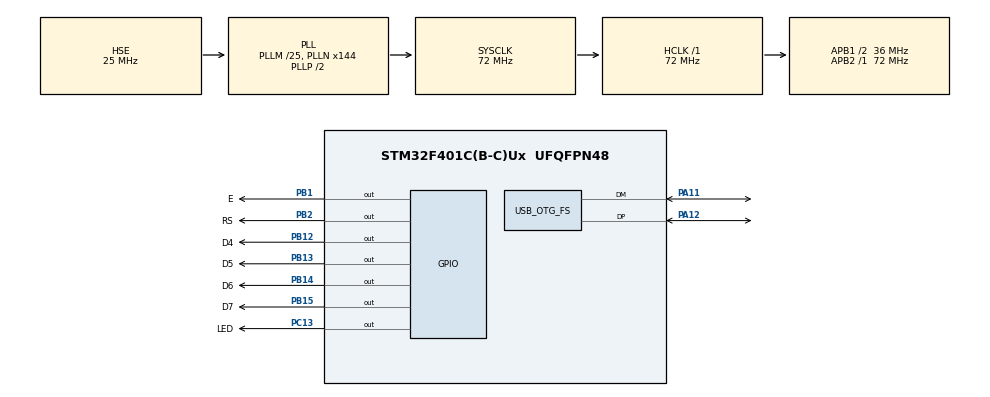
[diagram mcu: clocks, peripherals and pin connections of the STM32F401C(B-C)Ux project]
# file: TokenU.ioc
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Mcu.Family=STM32F4
Mcu.Name=STM32F401C(B-C)Ux
Mcu.Package=UFQFPN48
NVIC.OTG_FS_IRQn=true\:0\:0\:false\:false\:true\:true\:true\:true
NVIC.PriorityGroup=NVIC_PRIORITYGROUP_4
NVIC.TIM2_IRQn=true\:0\:0\:false\:false\:true\:true\:true\:true
PA11.Mode=Device_Only
PA11.Signal=USB_OTG_FS_DM
PA12.Mode=Device_Only
PA12.Signal=USB_OTG_FS_DP
PA13.Mode=Serial_Wire
PA13.Signal=SYS_JTMS-SWDIO
PA14.Mode=Serial_Wire
PA14.Signal=SYS_JTCK-SWCLK
PB1.GPIO_Label=E
PB1.Signal=GPIO_Output
PB12.GPIO_Label=D4
PB12.Signal=GPIO_Output
PB13.GPIO_Label=D5
PB13.Signal=GPIO_Output
PB14.GPIO_Label=D6
PB14.Signal=GPIO_Output
PB15.GPIO_Label=D7
PB15.Signal=GPIO_Output
PB2.GPIO_Label=RS
PB2.Signal=GPIO_Output
PC13-ANTI_TAMP.GPIO_Label=LED
PC13-ANTI_TAMP.Signal=GPIO_Output
PH0\ -\ OSC_IN.Mode=HSE-External-Oscillator
PH0\ -\ OSC_IN.Signal=RCC_OSC_IN
PH1\ -\ OSC_OUT.Mode=HSE-External-Oscillator
PH1\ -\ OSC_OUT.Signal=RCC_OSC_OUT
ProjectManager.HeapSize=0x200
ProjectManager.StackSize=0x400
ProjectManager.TargetToolchain=STM32CubeIDE
RCC.48MHZClocksFreq_Value=48000000
RCC.AHBFreq_Value=72000000
RCC.APB1CLKDivider=RCC_HCLK_DIV2
RCC.APB1Freq_Value=36000000
RCC.APB1TimFreq_Value=72000000
RCC.APB2Freq_Value=72000000
RCC.APB2TimFreq_Value=72000000
RCC.CortexFreq_Value=72000000
RCC.HCLKFreq_Value=72000000
RCC.HSE_VALUE=25000000
RCC.HSI_VALUE=16000000
RCC.LSE_VALUE=32768
RCC.PLLM=25
RCC.PLLN=144
RCC.PLLQ=3
RCC.SYSCLKFreq_VALUE=72000000
RCC.SYSCLKSource=RCC_SYSCLKSOURCE_PLLCLK
RCC.VCOOutputFreq_Value=144000000
TIM2.Period=60000-1
TIM2.Prescaler=36000
USB_DEVICE.CLASS_NAME_FS=CDC
USB_DEVICE.VirtualMode=Cdc
USB_DEVICE.VirtualModeFS=Cdc_FS
USB_OTG_FS.VirtualMode=Device_Only
VP_TIM2_VS_ClockSourceINT.Mode=Internal
VP_USB_DEVICE_VS_USB_DEVICE_CDC_FS.Mode=CDC_FS
board=custom

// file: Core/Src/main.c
/* USER CODE BEGIN Header */
/**
  **************************
  * @file           : main.c
  * @brief          : Main program body
  **************************
  * @attention
  *
  * Copyright (c) 2022 STMicroelectronics.
  * All rights reserved.
  *
  * This software is licensed under terms that can be found in the LICENSE file
  * in the root directory of this software component.
  * If no LICENSE file comes with this software, it is provided AS-IS.
  *
  **************************
  */
/* USER CODE END Header */
#include "main.h"
#include "usb_device.h"

/* USER CODE BEGIN Includes */
#include <stdlib.h>
#include <stdio.h>
//==Comandos LCD==//
#define linea1 0x80
#define linea2 0xC0
#define clear  0x01
/* USER CODE END Includes */

TIM_HandleTypeDef htim2;

/* USER CODE BEGIN PV */
unsigned long token =0;
unsigned long token2=0;
unsigned long token3=0;
char tex[8];
static char clave[8];
static char Hora[8];
static char OK[2]="OK";
static int temp=0, activar=0, activar2=0;
int i=0;
/*uint8_t contador=0;
uint8_t texto[32];
uint8_t ap[10]={0,1,2,3,4,5,6,7,8,9};*/
/* USER CODE END PV */

void SystemClock_Config(void);
static void MX_GPIO_Init(void);
static void MX_TIM2_Init(void);
/* USER CODE BEGIN PFP */
void initLCD();
void comando(unsigned char cmd, unsigned char rs);
void E_cadena(unsigned char *pal);
/* USER CODE END PFP */

int main(void)
{

  /* MCU Configuration--------------------------------------------------------*/

  /* Reset of all peripherals, Initializes the Flash interface and the Systick. */
  HAL_Init();

  /* Configure the system clock */
  SystemClock_Config();

  /* Initialize all configured peripherals */
  MX_GPIO_Init();
  MX_TIM2_Init();
  MX_USB_DEVICE_Init();
  /* USER CODE BEGIN 2 */
  //HAL_GPIO_WritePin(LED_GPIO_Port, LED_Pin, GPIO_PIN_SET);
  initLCD();

  E_cadena("Esperando  clave");
  comando(linea2, 0);
  E_cadena("Sin  sincronizar");
  while(activar == 0){
    }
  HAL_TIM_Base_Start_IT(&htim2);
  comando(clear,0);
  /* USER CODE END 2 */

  /* Infinite loop */
  /* USER CODE BEGIN WHILE */
  while (1){
	  /*if(temp==0){
		  E_cadena("Su token es: ");
		  comando(linea2,0);
		  E_cadena(utoa(token3, tex, 16));
		  temp=2;
	  }else if (temp==1){
		  token2=token2+30;
		  token3=token2^token;
		  //E_cadena(utoa(token, tex, 16));
		  temp=0;
		  comando(clear,0);
	  }*/
	  HAL_Delay(2000);
	  CDC_Transmit_FS(OK, strlen(OK));
    /* USER CODE END WHILE */

  }
}

void SystemClock_Config(void)
{
  RCC_OscInitTypeDef RCC_OscInitStruct = {0};
  RCC_ClkInitTypeDef RCC_ClkInitStruct = {0};

  /** Configure the main internal regulator output voltage
  */
  __HAL_RCC_PWR_CLK_ENABLE();
  __HAL_PWR_VOLTAGESCALING_CONFIG(PWR_REGULATOR_VOLTAGE_SCALE2);

  /** Initializes the RCC Oscillators according to the specified parameters
  * in the RCC_OscInitTypeDef structure.
  */
  RCC_OscInitStruct.OscillatorType = RCC_OSCILLATORTYPE_HSE;
  RCC_OscInitStruct.HSEState = RCC_HSE_ON;
  RCC_OscInitStruct.PLL.PLLState = RCC_PLL_ON;
  RCC_OscInitStruct.PLL.PLLSource = RCC_PLLSOURCE_HSE;
  RCC_OscInitStruct.PLL.PLLM = 25;
  RCC_OscInitStruct.PLL.PLLN = 144;
  RCC_OscInitStruct.PLL.PLLP = RCC_PLLP_DIV2;
  RCC_OscInitStruct.PLL.PLLQ = 3;
  if (HAL_RCC_OscConfig(&RCC_OscInitStruct) != HAL_OK)
  {
    Error_Handler();
  }

  /** Initializes the CPU, AHB and APB buses clocks
  */
  RCC_ClkInitStruct.ClockType = RCC_CLOCKTYPE_HCLK|RCC_CLOCKTYPE_SYSCLK
                              |RCC_CLOCKTYPE_PCLK1|RCC_CLOCKTYPE_PCLK2;
  RCC_ClkInitStruct.SYSCLKSource = RCC_SYSCLKSOURCE_PLLCLK;
  RCC_ClkInitStruct.AHBCLKDivider = RCC_SYSCLK_DIV1;
  RCC_ClkInitStruct.APB1CLKDivider = RCC_HCLK_DIV2;
  RCC_ClkInitStruct.APB2CLKDivider = RCC_HCLK_DIV1;

  if (HAL_RCC_ClockConfig(&RCC_ClkInitStruct, FLASH_LATENCY_2) != HAL_OK)
  {
    Error_Handler();
  }
}

static void MX_TIM2_Init(void)
{

  TIM_ClockConfigTypeDef sClockSourceConfig = {0};
  TIM_MasterConfigTypeDef sMasterConfig = {0};

  htim2.Instance = TIM2;
  htim2.Init.Prescaler = 36000;
  htim2.Init.CounterMode = TIM_COUNTERMODE_UP;
  htim2.Init.Period = 60000-1;
  htim2.Init.ClockDivision = TIM_CLOCKDIVISION_DIV1;
  htim2.Init.AutoReloadPreload = TIM_AUTORELOAD_PRELOAD_DISABLE;
  if (HAL_TIM_Base_Init(&htim2) != HAL_OK)
  {
    Error_Handler();
  }
  sClockSourceConfig.ClockSource = TIM_CLOCKSOURCE_INTERNAL;
  if (HAL_TIM_ConfigClockSource(&htim2, &sClockSourceConfig) != HAL_OK)
  {
    Error_Handler();
  }
  sMasterConfig.MasterOutputTrigger = TIM_TRGO_RESET;
  sMasterConfig.MasterSlaveMode = TIM_MASTERSLAVEMODE_DISABLE;
  if (HAL_TIMEx_MasterConfigSynchronization(&htim2, &sMasterConfig) != HAL_OK)
  {
    Error_Handler();
  }

}

static void MX_GPIO_Init(void)
{
  GPIO_InitTypeDef GPIO_InitStruct = {0};

  /* GPIO Ports Clock Enable */
  __HAL_RCC_GPIOC_CLK_ENABLE();
  __HAL_RCC_GPIOH_CLK_ENABLE();
  __HAL_RCC_GPIOB_CLK_ENABLE();
  __HAL_RCC_GPIOA_CLK_ENABLE();

  /*Configure GPIO pin Output Level */
  HAL_GPIO_WritePin(LED_GPIO_Port, LED_Pin, GPIO_PIN_RESET);

  /*Configure GPIO pin Output Level */
  HAL_GPIO_WritePin(GPIOB, E_Pin|RS_Pin|D4_Pin|D5_Pin
                          |D6_Pin|D7_Pin, GPIO_PIN_RESET);

  /*Configure GPIO pin : LED_Pin */
  GPIO_InitStruct.Pin = LED_Pin;
  GPIO_InitStruct.Mode = GPIO_MODE_OUTPUT_PP;
  GPIO_InitStruct.Pull = GPIO_NOPULL;
  GPIO_InitStruct.Speed = GPIO_SPEED_FREQ_LOW;
  HAL_GPIO_Init(LED_GPIO_Port, &GPIO_InitStruct);

  /*Configure GPIO pins : E_Pin RS_Pin D4_Pin D5_Pin
                           D6_Pin D7_Pin */
  GPIO_InitStruct.Pin = E_Pin|RS_Pin|D4_Pin|D5_Pin
                          |D6_Pin|D7_Pin;
  GPIO_InitStruct.Mode = GPIO_MODE_OUTPUT_PP;
  GPIO_InitStruct.Pull = GPIO_NOPULL;
  GPIO_InitStruct.Speed = GPIO_SPEED_FREQ_LOW;
  HAL_GPIO_Init(GPIOB, &GPIO_InitStruct);

}

/* USER CODE BEGIN 4 */
void comando(unsigned char cmd, unsigned char rs){
	unsigned char t1,t2,i;
	HAL_GPIO_WritePin(GPIOB, RS_Pin, rs);
	t1=(cmd>>4)&0x0F;
	for(i=0;i<4;i++){
		t2=t1&0x01;
		switch(i){
		case 0:
			HAL_GPIO_WritePin(GPIOB, D4_Pin, t2);
		break;
		case 1:
			HAL_GPIO_WritePin(GPIOB, D5_Pin, t2);
		break;
		case 2:
			HAL_GPIO_WritePin(GPIOB, D6_Pin, t2);
		break;
		case 3:
			HAL_GPIO_WritePin(GPIOB, D7_Pin, t2);
		break;
		}
		t1=t1>>1;
	}
	HAL_GPIO_WritePin(GPIOB, E_Pin, 1);
		HAL_Delay(2);
	HAL_GPIO_WritePin(GPIOB, E_Pin, 0);
		HAL_Delay(1);
	t1=cmd&0x0F;
	for(i=0;i<4;i++){
			t2=t1&0x01;
		switch(i){
		case 0:
			HAL_GPIO_WritePin(GPIOB, D4_Pin, t2);
		break;
		case 1:
			HAL_GPIO_WritePin(GPIOB, D5_Pin, t2);
		break;
		case 2:
			HAL_GPIO_WritePin(GPIOB, D6_Pin, t2);
		break;
		case 3:
			HAL_GPIO_WritePin(GPIOB, D7_Pin, t2);
		break;
		}
			t1=t1>>1;
		}
		HAL_GPIO_WritePin(GPIOB, E_Pin, 1);
			HAL_Delay(2);
		HAL_GPIO_WritePin(GPIOB, E_Pin, 0);
			HAL_Delay(1);
}

void initLCD(){
		HAL_Delay(40);
	comando(0x02,0);
		HAL_Delay(2);
	comando(0x28,0);
		HAL_Delay(2);
	comando(0x01,0);
		HAL_Delay(2);
	comando(0x0C,0);
		HAL_Delay(2);
	comando(0x06,0);
		HAL_Delay(2);
	comando(0x80,0);
		HAL_Delay(100);
}

void E_cadena(unsigned char *pal){
	while(*pal){
		comando(*pal,1);
		pal++;
	}
}

void HAL_TIM_PeriodElapsedCallback(TIM_HandleTypeDef *htim)
{
	//HAL_GPIO_TogglePin(LED_GPIO_Port, LED_Pin);
	temp=1;
}

void Receive(uint8_t* Buf, uint32_t Len){

	activar2++;
	/*if(Buf[0]=='s' || Buf[0]=='S'){
		activar=1;
		//CDC_Transmit_FS(OK, strlen(OK));
	}else if(Buf[0]=='H' && Buf[1]=='O'){
		for(i=0; i<9; i++){
			Hora[i]=Buf[i+2];
		}
		token2=strtoul(Hora, NULL, 10);
		//CDC_Transmit_FS(OK, strlen(OK));
	}else if(Buf[0]=='K' && Buf[1]=='E'){
		for(i=0; i<9; i++){
			clave[i]=Buf[i+2];
		}

		token=strtoul(clave, NULL, 16);
		//CDC_Transmit_FS(OK, strlen(OK));
	}*/CDC_Transmit_FS(OK, strlen(OK));
}

/* USER CODE END 4 */

void Error_Handler(void)
{
  __disable_irq();
  while (1)
  {
  }
}
